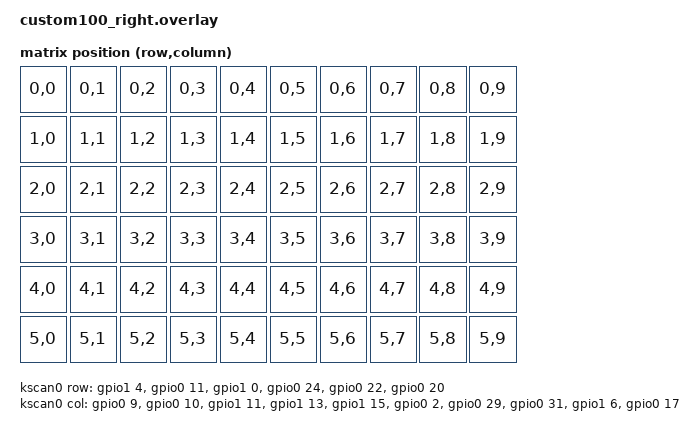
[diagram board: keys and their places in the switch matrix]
/*
 * Custom 100% Keyboard - Right/Peripheral Controller
 * Rows: P1.04, P0.11, P1.00, P0.24, P0.22, P0.20
 * Cols: P0.09, P0.10, P1.11, P1.13, P1.15, P0.02, P0.29, P0.31, P1.06, P0.17
 */

#include <dt-bindings/zmk/matrix_transform.h>

/ {
    chosen {
        zmk,kscan = &kscan0;
        zmk,matrix-transform = &default_transform;
    };

    default_transform: keymap_transform_0 {
        compatible = "zmk,matrix-transform";
        columns = <10>;
        rows = <6>;
        map = <
            RC(0,0)  RC(0,1)  RC(0,2)  RC(0,3)  RC(0,4)  RC(0,5)  RC(0,6)  RC(0,7)  RC(0,8)  RC(0,9)
            RC(1,0)  RC(1,1)  RC(1,2)  RC(1,3)  RC(1,4)  RC(1,5)  RC(1,6)  RC(1,7)  RC(1,8)  RC(1,9)
            RC(2,0)  RC(2,1)  RC(2,2)  RC(2,3)  RC(2,4)  RC(2,5)  RC(2,6)  RC(2,7)  RC(2,8)  RC(2,9)
            RC(3,0)  RC(3,1)  RC(3,2)  RC(3,3)  RC(3,4)  RC(3,5)  RC(3,6)  RC(3,7)  RC(3,8)  RC(3,9)
            RC(4,0)  RC(4,1)  RC(4,2)  RC(4,3)  RC(4,4)  RC(4,5)  RC(4,6)  RC(4,7)  RC(4,8)  RC(4,9)
            RC(5,0)  RC(5,1)  RC(5,2)  RC(5,3)  RC(5,4)  RC(5,5)  RC(5,6)  RC(5,7)  RC(5,8)  RC(5,9)
        >;
    };

    kscan0: kscan {
        compatible = "zmk,kscan-gpio-matrix";
        wakeup-source;

        diode-direction = "col2row";

        row-gpios
            = <&gpio1 4  (GPIO_ACTIVE_HIGH | GPIO_PULL_DOWN)>   /* Row 1: P1.04 */
            , <&gpio0 11 (GPIO_ACTIVE_HIGH | GPIO_PULL_DOWN)>   /* Row 2: P0.11 */
            , <&gpio1 0  (GPIO_ACTIVE_HIGH | GPIO_PULL_DOWN)>   /* Row 3: P1.00 */
            , <&gpio0 24 (GPIO_ACTIVE_HIGH | GPIO_PULL_DOWN)>   /* Row 4: P0.24 */
            , <&gpio0 22 (GPIO_ACTIVE_HIGH | GPIO_PULL_DOWN)>   /* Row 5: P0.22 */
            , <&gpio0 20 (GPIO_ACTIVE_HIGH | GPIO_PULL_DOWN)>   /* Row 6: P0.20 */
            ;

        col-gpios
            = <&gpio0 9  GPIO_ACTIVE_HIGH>   /* Col 1:  P0.09 */
            , <&gpio0 10 GPIO_ACTIVE_HIGH>   /* Col 2:  P0.10 */
            , <&gpio1 11 GPIO_ACTIVE_HIGH>   /* Col 3:  P1.11 */
            , <&gpio1 13 GPIO_ACTIVE_HIGH>   /* Col 4:  P1.13 */
            , <&gpio1 15 GPIO_ACTIVE_HIGH>   /* Col 5:  P1.15 */
            , <&gpio0 2  GPIO_ACTIVE_HIGH>   /* Col 6:  P0.02 */
            , <&gpio0 29 GPIO_ACTIVE_HIGH>   /* Col 7:  P0.29 */
            , <&gpio0 31 GPIO_ACTIVE_HIGH>   /* Col 8:  P0.31 */
            , <&gpio1 6  GPIO_ACTIVE_HIGH>   /* Col 9:  P1.06 */
            , <&gpio0 17 GPIO_ACTIVE_HIGH>   /* Col 10: P0.17 */
            ;
    };
};
